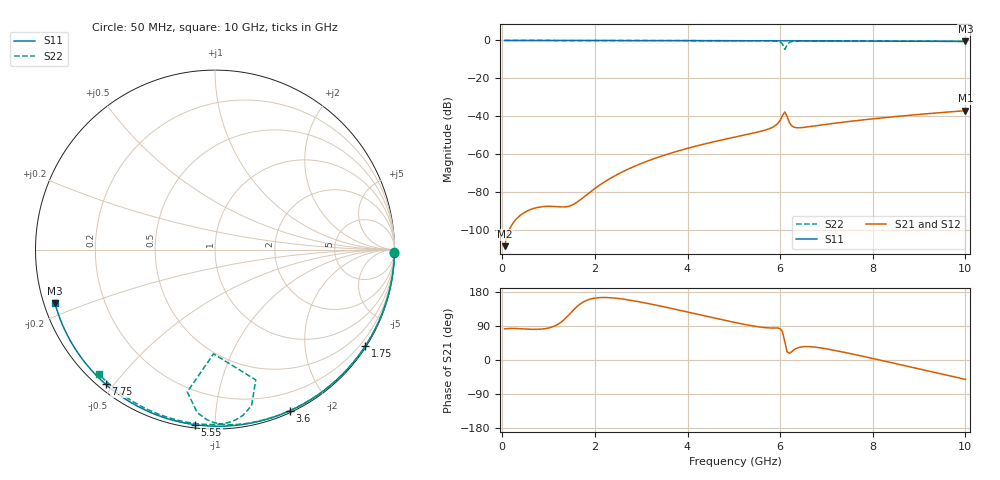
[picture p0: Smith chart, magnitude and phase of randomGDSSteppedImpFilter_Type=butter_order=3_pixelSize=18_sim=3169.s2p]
! freq	dB(S11)	phase(S11)	dB(S12)	phase(S12)
!  dB(S21)	phase(S21)	dB(S22)	phase(S22)
!S-par simulation data
#  GHz  S  DB  R 50
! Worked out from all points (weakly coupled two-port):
!   200 points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, 50 MHz to 10 GHz, reference 50 ohm
!   highest |S21| = -37.00 dB at 10 GHz (marker M1); lowest = -108.4 dB at 50 MHz (marker M2)
!   lowest |S11| = -0.5 dB at 10 GHz (marker M3), VSWR 32.55, Z = 1.58 - j8.09 ohm
!   |S11| at or under -10 dB: nowhere
!   |S22| runs from -4.7 to 0.0 dB; largest |S21 - S12| = 0
!   S11 on the Smith chart (normalised r, x): 50 MHz: open; 1.75 GHz: 0.03, -3.42; 3.6 GHz: 0.02, -1.57; 5.55 GHz: 0.02, -0.89; 7.75 GHz: 0.02, -0.48; 10 GHz: 0.03, -0.16
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0.05  -0.00 -1.0  -108.36 82.3  -108.36 82.3  -0.00 -0.8
0.85  -0.02 -16.0  -87.59 81.6  -87.59 81.6  -0.02 -13.1
1.75  -0.04 -32.6  -82.70 153.2  -82.70 153.2  -0.03 -26.7
1.9  -0.05 -35.3  -79.81 160.7  -79.81 160.7  -0.04 -29.0
2.2  -0.05 -40.7  -74.62 164.9  -74.62 164.9  -0.04 -33.4
2.55  -0.06 -46.9  -69.75 161.6  -69.75 161.6  -0.05 -38.6
3.4  -0.08 -61.7  -61.23 142.7  -61.23 142.7  -0.07 -51.0
3.6  -0.09 -65.1  -59.65 137.5  -59.65 137.5  -0.07 -53.8
5.05  -0.14 -88.7  -50.76 98.4  -50.76 98.4  -0.12 -74.4
5.55  -0.16 -96.5  -48.06 87.2  -48.06 87.2  -0.15 -82.0
5.8  -0.17 -100.3  -46.13 84.5  -46.13 84.5  -0.22 -87.1
5.95  -0.18 -102.6  -43.67 84.4  -43.67 84.4  -0.46 -92.7
6  -0.18 -103.4  -42.04 82.8  -42.04 82.8  -0.78 -96.2
6.05  -0.18 -104.1  -39.60 75.0  -39.60 75.0  -1.85 -101.0
6.1  -0.19 -104.9  -37.63 48.7  -37.63 48.7  -4.72 -90.8
6.15  -0.19 -105.6  -40.12 21.4  -40.12 21.4  -2.37 -72.6
6.2  -0.19 -106.4  -43.25 17.7  -43.25 17.7  -0.99 -76.8
6.3  -0.20 -107.9  -45.68 27.0  -45.68 27.0  -0.40 -82.9
6.7  -0.22 -113.8  -45.18 34.6  -45.18 34.6  -0.22 -92.1
7.75  -0.30 -129.1  -41.94 10.7  -41.94 10.7  -0.26 -106.3
8.35  -0.35 -137.7  -40.42 -5.6  -40.42 -5.6  -0.30 -113.6
10  -0.53 -161.6  -37.00 -51.1  -37.00 -51.1  -0.46 -133.0
